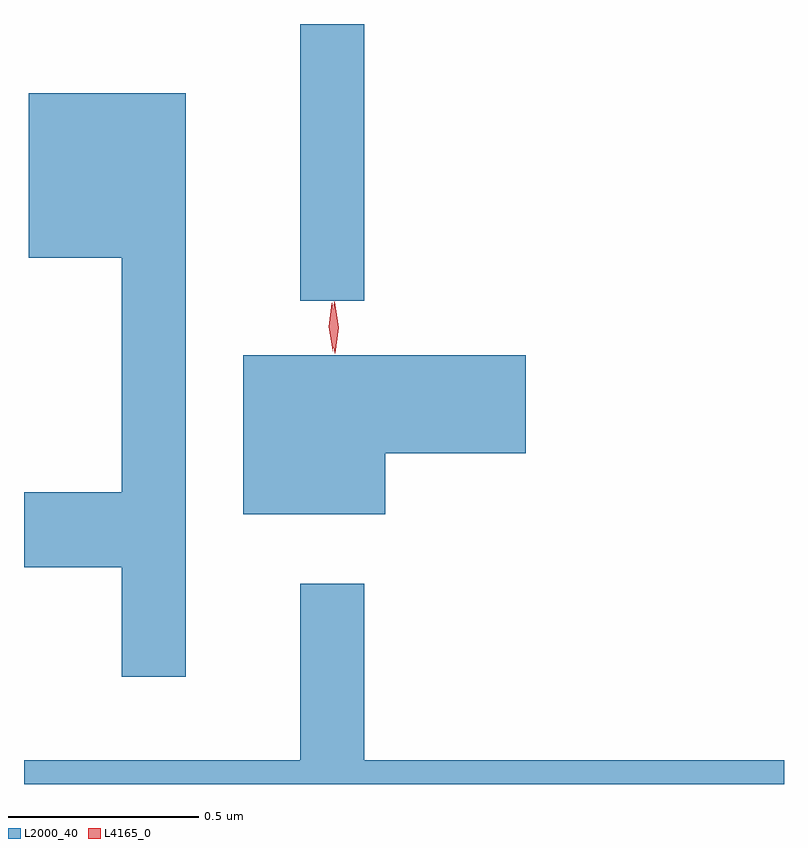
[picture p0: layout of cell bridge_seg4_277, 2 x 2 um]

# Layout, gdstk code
import gdstk
lib = gdstk.Library(unit=1e-6, precision=1e-09)
def R(c, l, rs):  # rectangles x0, y0, x1, y1
    for r in rs: c.add(gdstk.rectangle(r[:2], r[2:], *l))
def P(c, l, *ps):  # polygons
    for p in ps: c.add(gdstk.Polygon(p, *l))
L2000_40 = (2000, 40)
L4165_0 = (4165, 0)

bridge_seg4_277 = lib.new_cell('bridge_seg4_277')
R(bridge_seg4_277, L2000_40, [(520.521,1385.013,520.689,1385.741)])
P(bridge_seg4_277, L2000_40, [(520.219,1385.559),(519.806,1385.559),(519.806,1385.126),(520.051,1385.126),(520.051,1384.509),(519.794,1384.509),(519.794,1384.311),(520.051,1384.311),(520.051,1384.023),(520.219,1384.023)],
  [(520.744,1384.611),(521.114,1384.611),(521.114,1384.869),(520.371,1384.869),(520.371,1384.451),(520.744,1384.451)],
  [(521.794,1383.804),(520.689,1383.804),(520.689,1384.268),(520.521,1384.268),(520.521,1383.804),(519.794,1383.804),(519.794,1383.741),(521.794,1383.741)])
P(bridge_seg4_277, L4165_0, [(520.612,1384.874),(520.602,1384.942),(520.611,1385.01),(520.612,1385.01),(520.612,1385.01),(520.622,1384.942),(520.613,1384.874),(520.613,1384.874)],
  [(520.606,1384.88),(520.606,1384.881),(520.596,1384.944),(520.604,1385.006),(520.605,1385.007),(520.605,1385.006),(520.615,1384.944),(520.607,1384.881)])

lib.write_gds('bridge_seg4_277.gds')
